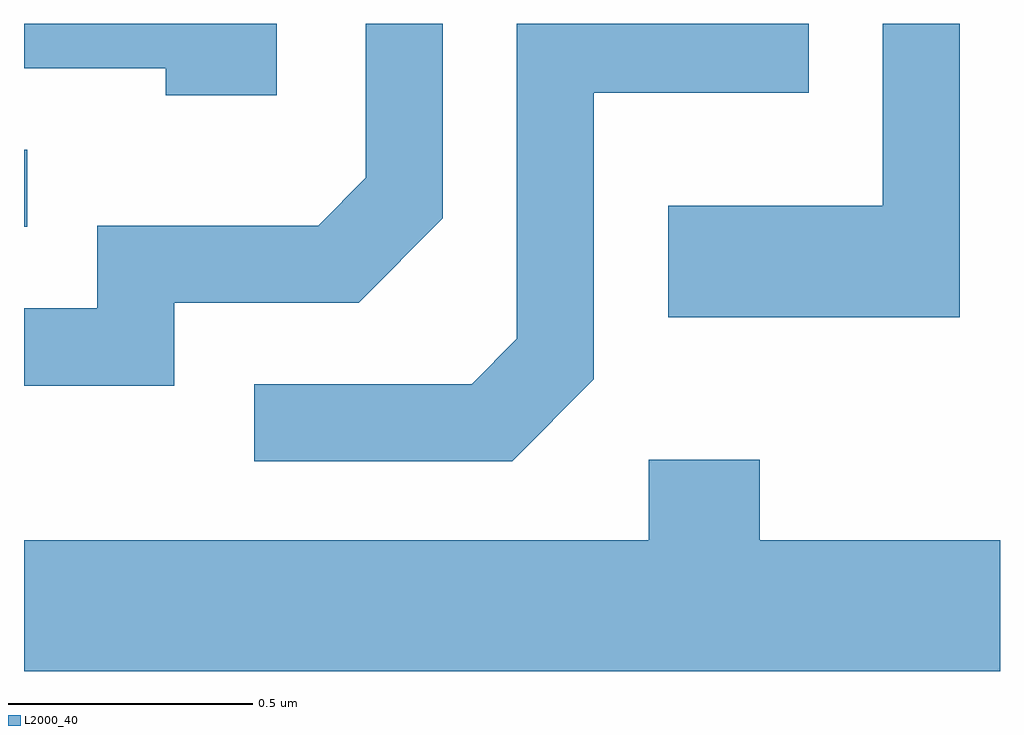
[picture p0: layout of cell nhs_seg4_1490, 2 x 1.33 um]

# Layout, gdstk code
import gdstk
lib = gdstk.Library(unit=1e-6, precision=1e-09)
def R(c, l, rs):  # rectangles x0, y0, x1, y1
    for r in rs: c.add(gdstk.rectangle(r[:2], r[2:], *l))
def P(c, l, *ps):  # polygons
    for p in ps: c.add(gdstk.Polygon(p, *l))
L2000_40 = (2000, 40)

nhs_seg4_1490 = lib.new_cell('nhs_seg4_1490')
R(nhs_seg4_1490, L2000_40, [(195.611,1375.566,195.618,1375.724)])
P(nhs_seg4_1490, L2000_40, [(197.529,1375.982),(197.371,1375.982),(197.371,1375.609),(196.931,1375.609),(196.931,1375.381),(197.529,1375.381)],
  [(195.919,1375.411),(196.297,1375.411),(196.469,1375.584),(196.469,1375.982),(196.311,1375.982),(196.311,1375.667),(196.214,1375.569),(195.761,1375.569),(195.761,1375.399),(195.611,1375.399),(195.611,1375.241),(195.919,1375.241)],
  [(196.779,1375.254),(196.779,1375.841),(197.219,1375.841),(197.219,1375.982),(196.621,1375.982),(196.621,1375.337),(196.529,1375.244),(196.083,1375.244),(196.083,1375.086),(196.612,1375.086)],
  [(196.129,1375.982),(195.611,1375.982),(195.611,1375.891),(195.901,1375.891),(195.901,1375.836),(196.129,1375.836)],
  [(197.611,1374.924),(197.119,1374.924),(197.119,1375.089),(196.891,1375.089),(196.891,1374.924),(195.611,1374.924),(195.611,1374.656),(197.611,1374.656)])

lib.write_gds('nhs_seg4_1490.gds')
